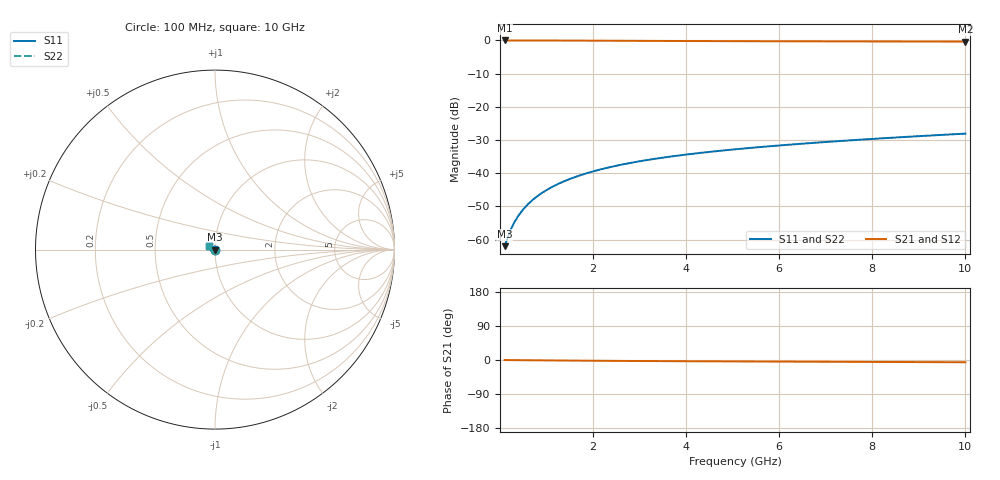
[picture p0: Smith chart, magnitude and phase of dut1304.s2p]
! Touchstone file exported from HFSS 2024.1.0
!  File:  C:/UserFiles/LocalFiles/RDL_TSV_Batchsim/temp_TSV1_1304_1780372768.aedt
!  Generated:  12:09:51 PM Jun  2, 2026
!  Design:  TSV1
!  Project:  temp_TSV1_1304_1780372768
!  Setup:  Setup1
!  Solution:  Sweep
! Variables:
!  dtsv = 5.1um
!  hbump = 3um
!  htsv = 89.88um
!  lrdl = 252.1521522um
!  p = 40
!  p1 = 43.9um
!  t = 500um
!  trdl = 3um
!  wrdl = 24.89489489um
# GHz S MA R 50.000000
! Terminal data exported
! Port[1] = TSV22_T1
! Port[2] = TSV22_T2
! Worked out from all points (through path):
!   100 points, 100 MHz to 10 GHz, reference 50 ohm
!   highest |S21| = -0.01 dB at 100 MHz (marker M1); lowest = -0.3 dB at 10 GHz (marker M2)
!   lowest |S11| = -62.0 dB at 100 MHz (marker M3), VSWR 1.00, Z = 50.1 - j0.0572 ohm
!   |S11| at or under -10 dB: start of sweep to end of sweep
!   |S22| runs from -62.0 to -28.1 dB; largest |S21 - S12| = 7.8e-15
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0.1  0.0007969 -45.8  0.9994 -0.1  0.9994 -0.1  0.0007969 -45.8
! Gamma 0 0 0 0
! Port Impedance 50 0 50 0
0.2  0.001259 -66.6  0.9993 -0.2  0.9993 -0.2  0.001259 -66.6
0.3  0.001779 -77.1  0.9992 -0.3  0.9992 -0.3  0.001779 -77.1
0.4  0.002317 -83.8  0.999 -0.4  0.999 -0.4  0.002317 -83.8
0.5  0.002862 -88.7  0.9989 -0.5  0.9989 -0.5  0.002862 -88.7
0.6  0.003408 -92.7  0.9986 -0.6  0.9986 -0.6  0.003408 -92.7
0.7  0.003953 -96.2  0.9984 -0.7  0.9984 -0.7  0.003953 -96.2
0.8  0.004496 -99.3  0.9981 -0.8  0.9981 -0.8  0.004496 -99.3
0.9  0.005037 -102.2  0.9977 -0.9  0.9977 -0.9  0.005037 -102.2
1  0.005574 -104.9  0.9973 -1.0  0.9973 -1.0  0.005574 -104.9
1.2  0.006634 -110.0  0.9965 -1.2  0.9965 -1.2  0.006634 -110.0
1.5  0.008185 -116.9  0.9951 -1.5  0.9951 -1.5  0.008185 -116.9
1.8  0.009684 -123.3  0.9934 -1.8  0.9934 -1.8  0.009684 -123.3
2.1  0.01113 -129.3  0.9917 -2.0  0.9917 -2.0  0.01113 -129.3
2.5  0.01296 -136.8  0.9892 -2.3  0.9892 -2.3  0.01296 -136.8
2.9  0.01471 -143.7  0.9867 -2.6  0.9867 -2.6  0.01471 -143.7
3.4  0.01677 -151.8  0.9836 -2.9  0.9836 -2.9  0.01677 -151.8
4.2  0.01985 -163.2  0.9791 -3.4  0.9791 -3.4  0.01985 -163.2
5.1  0.02309 -174.3  0.9747 -3.8  0.9747 -3.8  0.02309 -174.3
6.7  0.02854 169.8  0.9686 -4.5  0.9686 -4.5  0.02854 169.8
8.4  0.03418 156.8  0.964 -5.3  0.964 -5.3  0.03418 156.8
10  0.03948 147.2  0.9608 -5.9  0.9608 -5.9  0.03948 147.2
